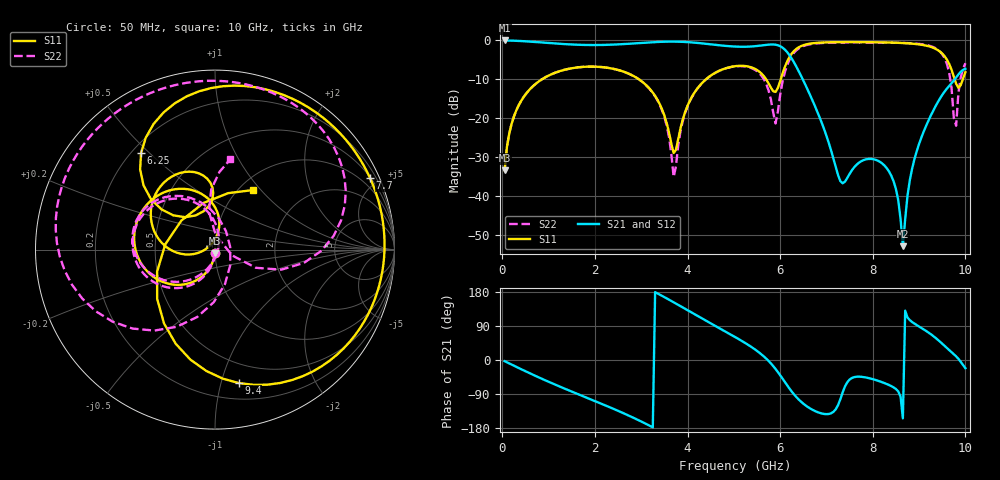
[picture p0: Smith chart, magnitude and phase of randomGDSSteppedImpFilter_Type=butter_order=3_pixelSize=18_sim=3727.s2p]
! freq	dB(S11)	phase(S11)	dB(S12)	phase(S12)
!  dB(S21)	phase(S21)	dB(S22)	phase(S22)
!S-par simulation data
#  GHz  S  DB  R 50
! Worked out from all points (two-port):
!   200 points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, 50 MHz to 10 GHz, reference 50 ohm
!   highest |S21| = -0.01 dB at 50 MHz (marker M1); lowest = -52.7 dB at 8.65 GHz (marker M2)
!   |S21| within 3 dB of the highest: start of sweep to 6.152 GHz
!   lowest |S11| = -33.3 dB at 50 MHz (marker M3), VSWR 1.04, Z = 49.8 - j2.16 ohm
!   |S11| at or under -10 dB: start of sweep to 852.2 MHz; 2.955 GHz to 4.395 GHz (1.441 GHz wide, 39.2 % of centre); 5.698 GHz to 6.012 GHz (313.7 MHz wide, 5.36 % of centre) (the widest 3 of 4)
!   |S22| runs from -35.0 to -0.5 dB; largest |S21 - S12| = 0
!   S11 on the Smith chart (normalised r, x): 50 MHz: 1.00, -0.04; 6.25 GHz: 0.24, +0.47; 7.7 GHz: 0.54, +4.51; 9.4 GHz: 0.33, -1.14; 10 GHz: 1.15, +0.90
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0.05  -33.29 -93.1  -0.01 -3.1  -0.01 -3.1  -33.29 -92.8
0.2  -21.42 -103.0  -0.05 -12.0  -0.05 -12.0  -21.42 -101.8
0.5  -13.87 -121.7  -0.22 -29.6  -0.22 -29.6  -13.87 -118.6
1.75  -6.78 168.3  -1.15 -95.9  -1.15 -95.9  -6.77 179.0
3.4  -16.33 80.8  -0.36 172.6  -0.36 172.6  -16.52 89.6
3.7  -28.87 124.7  -0.30 152.4  -0.30 152.4  -35.00 9.4
4.1  -14.34 -173.0  -0.52 124.4  -0.52 124.4  -14.42 -125.1
5.05  -6.57 127.5  -1.59 59.0  -1.59 59.0  -6.63 170.0
5.6  -8.53 94.0  -1.29 14.4  -1.29 14.4  -9.08 121.9
5.9  -13.20 119.5  -1.10 -23.6  -1.10 -23.6  -21.29 9.6
6.25  -3.39 127.5  -4.66 -83.2  -4.66 -83.2  -3.93 -136.3
6.7  -0.72 83.3  -15.43 -131.5  -15.43 -131.5  -0.88 168.8
7.3  -0.43 45.4  -36.07 -103.5  -36.07 -103.5  -0.53 131.7
7.7  -0.43 24.7  -31.36 -43.9  -31.36 -43.9  -0.50 112.8
8.35  -0.54 -7.4  -33.58 -65.9  -33.58 -65.9  -0.55 84.0
8.55  -0.61 -17.7  -40.96 -82.9  -40.96 -82.9  -0.60 74.7
8.65  -0.67 -23.0  -52.75 -153.9  -52.75 -153.9  -0.63 69.9
8.85  -0.83 -34.5  -32.85 100.2  -32.85 100.2  -0.74 59.5
9.4  -2.45 -80.0  -15.92 54.0  -15.92 54.0  -2.33 18.9
9.65  -6.03 -124.6  -11.67 25.7  -11.67 25.7  -8.27 -16.8
9.8  -11.10 174.0  -9.51 9.6  -9.51 9.6  -21.87 86.8
10  -8.14 57.8  -7.27 -21.7  -7.27 -21.7  -5.84 80.4
